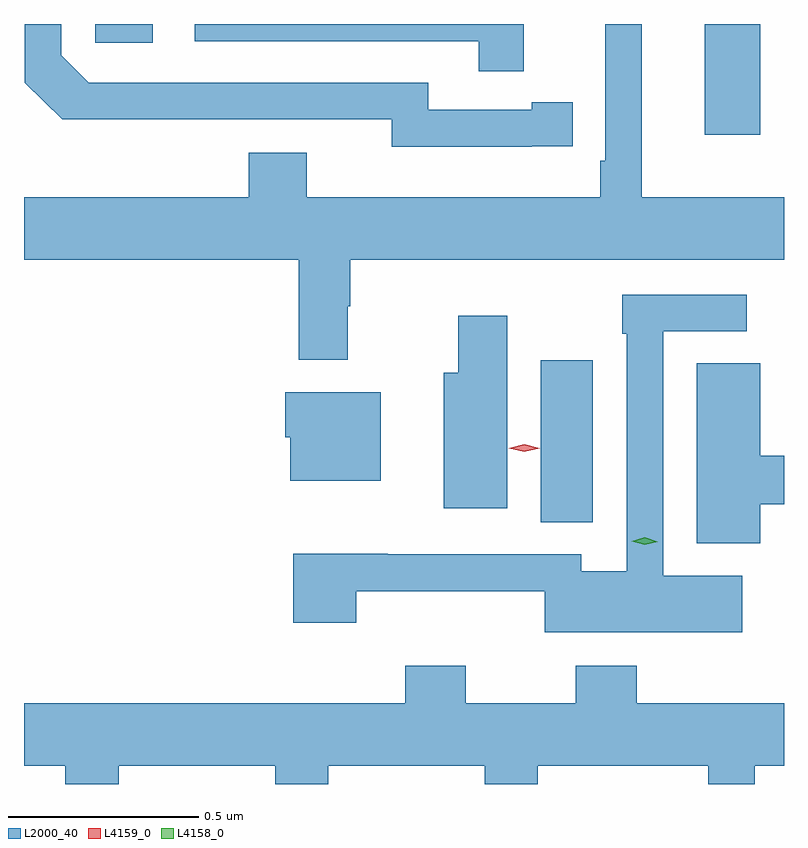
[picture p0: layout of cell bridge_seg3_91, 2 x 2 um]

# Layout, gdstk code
import gdstk
lib = gdstk.Library(unit=1e-6, precision=1e-09)
def R(c, l, rs):  # rectangles x0, y0, x1, y1
    for r in rs: c.add(gdstk.rectangle(r[:2], r[2:], *l))
def P(c, l, *ps):  # polygons
    for p in ps: c.add(gdstk.Polygon(p, *l))
L2000_40 = (2000, 40)
L4158_0 = (4158, 0)
L4159_0 = (4159, 0)

bridge_seg3_91 = lib.new_cell('bridge_seg3_91')
R(bridge_seg3_91, L2000_40, [(415.988,713.545,416.125,713.971), (416.42,714.564,416.566,714.856), (414.816,714.807,414.967,714.856)])
P(bridge_seg3_91, L2000_40, [(415.48,714.113),(415.487,714.113),(415.487,714.236),(416.628,714.236),(416.628,714.4),(416.254,714.4),(416.254,714.856),(416.157,714.856),(416.157,714.496),(416.144,714.496),(416.144,714.4),(415.372,714.4),(415.372,714.517),(415.22,714.517),(415.22,714.4),(414.628,714.4),(414.628,714.236),(415.351,714.236),(415.351,713.973),(415.48,713.973)],
  [(415.943,714.856),(415.077,714.856),(415.077,714.81),(415.825,714.81),(415.825,714.732),(415.943,714.732)],
  [(415.964,714.534),(416.072,714.534),(416.072,714.65),(415.964,714.65),(415.964,714.63),(415.692,714.63),(415.692,714.702),(414.798,714.702),(414.726,714.774),(414.726,714.856),(414.63,714.856),(414.63,714.702),(414.728,714.605),(415.136,714.605),(415.136,714.606),(415.596,714.606),(415.596,714.533),(415.964,714.533)],
  [(416.518,713.404),(416.31,713.404),(416.31,714.048),(416.53,714.048),(416.53,714.144),(416.202,714.144),(416.202,714.041),(416.214,714.041),(416.214,713.416),(416.094,713.416),(416.094,713.46),(415.585,713.46),(415.585,713.462),(415.337,713.462),(415.337,713.28),(415.502,713.28),(415.502,713.363),(415.998,713.363),(415.998,713.255),(416.518,713.255)],
  [(415.9,714.088),(415.771,714.088),(415.771,713.938),(415.733,713.938),(415.733,713.582),(415.9,713.582)],
  [(416.566,713.592),(416.628,713.592),(416.628,713.72),(416.566,713.72),(416.566,713.963),(416.399,713.963),(416.399,713.489),(416.566,713.489)],
  [(415.567,713.887),(415.316,713.887),(415.316,713.769),(415.328,713.769),(415.328,713.654),(415.567,713.654)],
  [(414.877,712.904),(415.289,712.904),(415.289,712.856),(415.429,712.856),(415.429,712.904),(415.841,712.904),(415.841,712.856),(415.98,712.856),(415.98,712.904),(416.429,712.904),(416.429,712.856),(416.551,712.856),(416.551,712.904),(416.628,712.904),(416.628,713.068),(416.24,713.068),(416.24,713.167),(416.08,713.167),(416.08,713.068),(415.791,713.068),(415.791,713.167),(415.631,713.167),(415.631,713.068),(414.628,713.068),(414.628,712.904),(414.737,712.904),(414.737,712.856),(414.877,712.856)])
P(bridge_seg3_91, L4158_0, [(416.261,713.485),(416.227,713.495),(416.226,713.495),(416.227,713.495),(416.261,713.505),(416.296,713.494),(416.296,713.494),(416.296,713.494)])
P(bridge_seg3_91, L4159_0, [(415.944,713.73),(415.904,713.74),(415.904,713.74),(415.904,713.74),(415.945,713.75),(415.985,713.74),(415.985,713.74),(415.985,713.739)])

lib.write_gds('bridge_seg3_91.gds')
